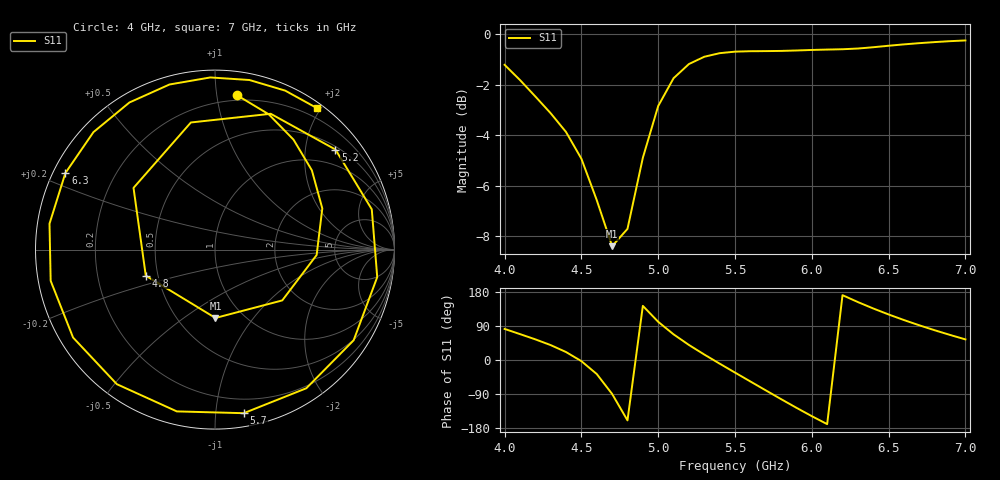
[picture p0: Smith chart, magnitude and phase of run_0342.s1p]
! Touchstone file exported from HFSS 2024.2.0
!  File:  C:/Users/wsak9/Desktop/Sim Fast/Widenad Patch/WP_AI_V1_sweep.aedt
!  Generated:  05:31:14 AM Oct 14, 2026
!  Design:  A1_model
!  Project:  WP_AI_V1_sweep
!  Setup:  Setup1
!  Solution:  Sweep
! Variables:
!  Air_gap = 3.36mm
!  Curve_Amp1 = 0.71
!  Curve_len1 = 1
!  Curve_pos = 12.18mm
!  Extra = 6.2mm
!  H_sub = 0.79mm
!  L_Patch = 20.36mm
!  L_Patch1 = 22.18mm
!  Sx = 4.32mm
!  Sy = 2.34mm
!  WS = 0.52mm
!  W_Patch = 14.54mm
!  W_Patch1 = 15.98mm
!Data is not renormalized
# GHz S MA
! Terminal data exported
! Port[1] = 1
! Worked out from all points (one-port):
!   31 points, 4 GHz to 7 GHz, reference per port
!   lowest |S11| = -8.4 dB at 4.7 GHz (marker M1), VSWR 2.23
!   |S11| at or under -10 dB: nowhere
!   S11 on the Smith chart (normalised r, x): 4 GHz: 0.16, +1.14; 4.8 GHz: 0.43, -0.15; 5.2 GHz: 0.57, +2.66; 5.7 GHz: 0.09, -1.19; 6.3 GHz: 0.03, +0.24; 7 GHz: 0.07, +1.95
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4  0.8693 82.0
4.2  0.7528 54.5
4.4  0.6403 21.0
4.5  0.567 -3.1
4.6  0.4696 -37.1
4.7  0.3809 -89.6
4.8  0.4121 -159.4
4.9  0.5695 142.9
5  0.7209 100.7
5.1  0.8179 67.7
5.2  0.8725 39.7
5.3  0.9019 14.4
5.4  0.9167 -9.6
5.5  0.9231 -33.2
5.6  0.925 -56.6
5.7  0.9254 -80.0
5.8  0.9262 -103.3
5.9  0.928 -126.1
6  0.9303 -148.2
6.1  0.9319 -169.2
6.2  0.9333 171.1
6.3  0.9363 152.9
6.4  0.9418 136.0
6.5  0.9482 120.2
6.6  0.9542 105.4
6.7  0.9595 91.6
6.8  0.9642 78.5
7  0.9714 54.4
